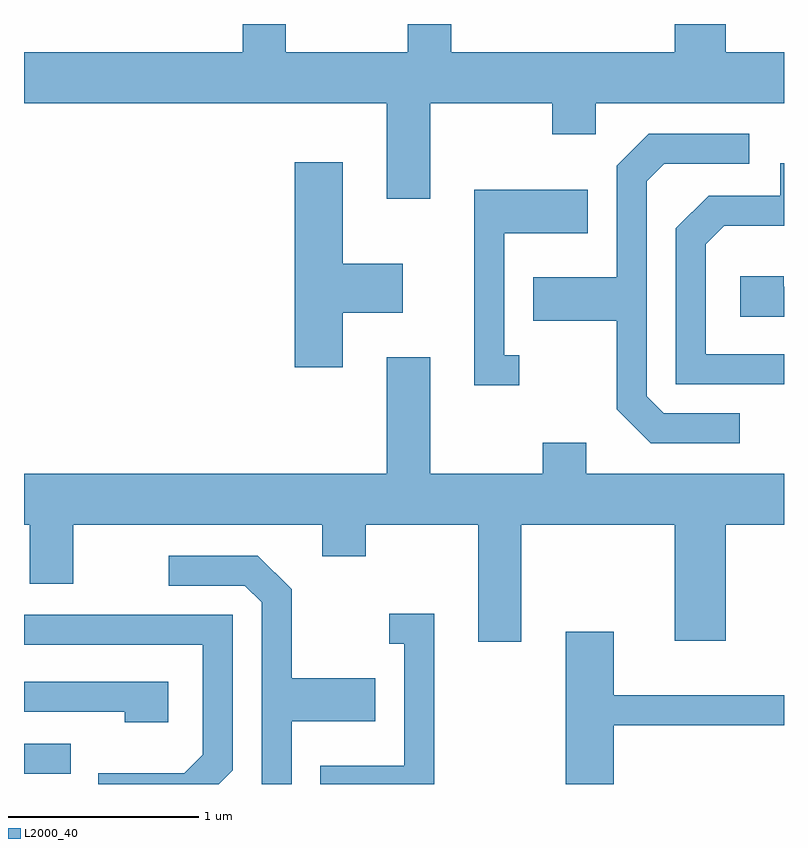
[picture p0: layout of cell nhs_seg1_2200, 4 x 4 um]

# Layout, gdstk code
import gdstk
lib = gdstk.Library(unit=1e-6, precision=1e-09)
def R(c, l, rs):  # rectangles x0, y0, x1, y1
    for r in rs: c.add(gdstk.rectangle(r[:2], r[2:], *l))
def P(c, l, *ps):  # polygons
    for p in ps: c.add(gdstk.Polygon(p, *l))
L2000_40 = (2000, 40)

nhs_seg1_2200 = lib.new_cell('nhs_seg1_2200')
R(nhs_seg1_2200, L2000_40, [(251.611,953.766,251.858,953.924)])
P(nhs_seg1_2200, L2000_40, [(252.989,957.712),(252.761,957.712),(252.761,957.564),(251.611,957.564),(251.611,957.296),(253.521,957.296),(253.521,956.791),(253.749,956.791),(253.749,957.296),(254.391,957.296),(254.391,957.131),(254.619,957.131),(254.619,957.296),(255.611,957.296),(255.611,957.564),(255.304,957.564),(255.304,957.712),(255.036,957.712),(255.036,957.564),(253.859,957.564),(253.859,957.712),(253.631,957.712),(253.631,957.564),(252.989,957.564)],
  [(255.378,955.664),(254.977,955.664),(254.889,955.752),(254.889,956.884),(254.982,956.976),(255.428,956.976),(255.428,957.134),(254.899,957.134),(254.731,956.967),(254.731,956.379),(254.291,956.379),(254.291,956.151),(254.731,956.151),(254.731,955.684),(254.909,955.506),(255.378,955.506)],
  [(253.289,956.191),(253.604,956.191),(253.604,956.449),(253.289,956.449),(253.289,956.984),(253.036,956.984),(253.036,955.906),(253.289,955.906)],
  [(255.611,955.974),(255.199,955.974),(255.199,956.554),(255.297,956.651),(255.611,956.651),(255.611,956.979),(255.591,956.979),(255.591,956.809),(255.214,956.809),(255.041,956.637),(255.041,955.816),(255.611,955.816)],
  [(254.218,955.969),(254.139,955.969),(254.139,956.611),(254.579,956.611),(254.579,956.839),(253.981,956.839),(253.981,955.811),(254.218,955.811)],
  [(255.611,956.329),(255.609,956.329),(255.609,956.384),(255.381,956.384),(255.381,956.171),(255.611,956.171)],
  [(253.749,955.959),(253.521,955.959),(253.521,955.344),(251.611,955.344),(251.611,955.076),(251.641,955.076),(251.641,954.766),(251.869,954.766),(251.869,955.076),(253.181,955.076),(253.181,954.911),(253.409,954.911),(253.409,955.076),(254.001,955.076),(254.001,954.461),(254.229,954.461),(254.229,955.076),(255.036,955.076),(255.036,954.466),(255.304,954.466),(255.304,955.076),(255.611,955.076),(255.611,955.344),(254.569,955.344),(254.569,955.509),(254.341,955.509),(254.341,955.344),(253.749,955.344)],
  [(253.019,954.041),(253.459,954.041),(253.459,954.269),(253.019,954.269),(253.019,954.737),(252.842,954.914),(252.373,954.914),(252.373,954.756),(252.774,954.756),(252.861,954.669),(252.861,953.712),(253.019,953.712)],
  [(253.769,954.609),(253.533,954.609),(253.533,954.451),(253.611,954.451),(253.611,953.809),(253.171,953.809),(253.171,953.712),(253.769,953.712)],
  [(252.709,953.784),(252.709,954.604),(251.611,954.604),(251.611,954.446),(252.551,954.446),(252.551,953.867),(252.454,953.769),(252.001,953.769),(252.001,953.712),(252.637,953.712)],
  [(254.714,954.021),(255.611,954.021),(255.611,954.179),(254.714,954.179),(254.714,954.514),(254.461,954.514),(254.461,953.712),(254.714,953.712)],
  [(252.369,954.249),(251.611,954.249),(251.611,954.091),(252.141,954.091),(252.141,954.036),(252.369,954.036)])

lib.write_gds('nhs_seg1_2200.gds')
